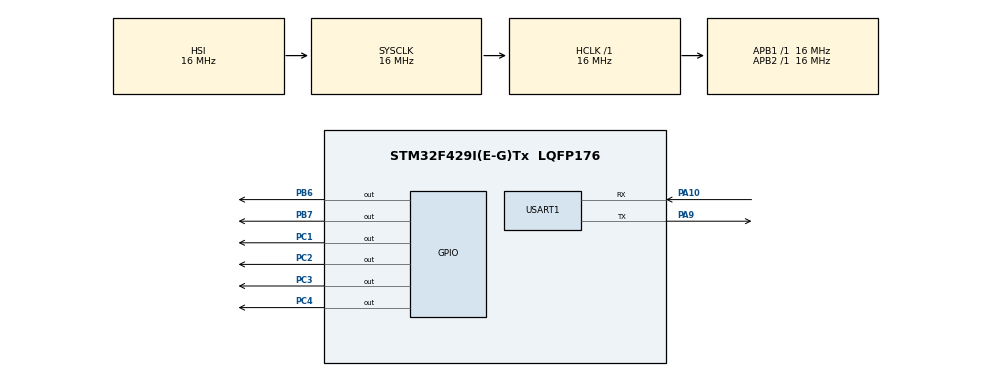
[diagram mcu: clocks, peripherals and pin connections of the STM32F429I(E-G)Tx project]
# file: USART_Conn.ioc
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Mcu.Family=STM32F4
Mcu.Name=STM32F429I(E-G)Tx
Mcu.Package=LQFP176
NVIC.PriorityGroup=NVIC_PRIORITYGROUP_4
NVIC.USART1_IRQn=true\:0\:0\:false\:false\:true\:true\:true\:true
PA10.Mode=Asynchronous
PA10.Signal=USART1_RX
PA9.Mode=Asynchronous
PA9.Signal=USART1_TX
PB6.Signal=GPIO_Output
PB7.PinState=GPIO_PIN_SET
PB7.Signal=GPIO_Output
PC1.Signal=GPIO_Output
PC2.Signal=GPIO_Output
PC3.Signal=GPIO_Output
PC4.Signal=GPIO_Output
ProjectManager.HeapSize=0x200
ProjectManager.StackSize=0x400
ProjectManager.TargetToolchain=MDK-ARM V5.32
RCC.AHBFreq_Value=16000000
RCC.APB1Freq_Value=16000000
RCC.APB2Freq_Value=16000000
RCC.CortexFreq_Value=16000000
RCC.HSE_VALUE=25000000
RCC.HSI_VALUE=16000000
RCC.LSE_VALUE=32768
RCC.SYSCLKFreq_VALUE=16000000
RCC.VCOOutputFreq_Value=192000000
USART1.VirtualMode=VM_ASYNC
board=custom

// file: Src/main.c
/* USER CODE BEGIN Header */
/**
  ******************************************************************************
  * @file           : main.c
  * @brief          : Main program body
  ******************************************************************************
  * @attention
  *
  * Copyright (c) 2024 STMicroelectronics.
  * All rights reserved.
  *
  * This software is licensed under terms that can be found in the LICENSE file
  * in the root directory of this software component.
  * If no LICENSE file comes with this software, it is provided AS-IS.
  *
  ******************************************************************************
  */
/* USER CODE END Header */
#include "main.h"
#include "usart.h"
#include "gpio.h"

/* USER CODE BEGIN Includes */
#include "string.h"
/* USER CODE END Includes */

void SystemClock_Config(void);

int main(void)
{

  /* MCU Configuration--------------------------------------------------------*/

  /* Reset of all peripherals, Initializes the Flash interface and the Systick. */
  HAL_Init();

  /* Configure the system clock */
  SystemClock_Config();

  /* Initialize all configured peripherals */
  MX_GPIO_Init();
  MX_USART1_UART_Init();
  /* USER CODE BEGIN 2 */
//	uint8_t sendData[]= "hello worldr\n";

//	unsigned char rec[25];
//	unsigned char flag;

  /* USER CODE END 2 */

  /* Infinite loop */
  /* USER CODE BEGIN WHILE */
  while (1)
  {
//		HAL UART Transmit(&huartl, sendData, sizeof(sendData), HAL MAX DELAY);
//		HAL Delay(5000);

		uint8_t recvData;
		HAL_UART_Receive(&huart1,&recvData,sizeof(recvData),HAL_MAX_DELAY); //只收一个字符,需要16进制发送
		HAL_GPIO_WritePin(GPIOC,GPIO_PIN_1,GPIO_PIN_RESET);
		HAL_GPIO_WritePin(GPIOC,GPIO_PIN_2,GPIO_PIN_RESET);
		HAL_GPIO_WritePin(GPIOC,GPIO_PIN_3,GPIO_PIN_RESET);
		HAL_GPIO_WritePin(GPIOC,GPIO_PIN_4,GPIO_PIN_RESET); //在切换灯之前全部熄灭
		switch (recvData)
		{
		case 1:
			HAL_GPIO_WritePin(GPIOC,GPIO_PIN_1,GPIO_PIN_SET);
			break;
		case 2:
			HAL_GPIO_WritePin(GPIOC,GPIO_PIN_2,GPIO_PIN_SET);
			break;
		case 3:
			HAL_GPIO_WritePin(GPIOC,GPIO_PIN_3,GPIO_PIN_SET);
			break;
		case 4:
			HAL_GPIO_WritePin(GPIOC,GPIO_PIN_4,GPIO_PIN_SET);
			break;
		default:
			break;
		}

//		//MyVersion:
//		HAL_UART_Receive(&huart1,rec,25,1);
//		flag = rec[0];
//		if(flag == '1')
//			HAL_GPIO_WritePin(GPIOC,GPIO_PIN_1,GPIO_PIN_SET);
//		else
//			HAL_GPIO_WritePin(GPIOC,GPIO_PIN_1,GPIO_PIN_RESET);
//
//		if(flag == '2')
//			HAL_GPIO_WritePin(GPIOC,GPIO_PIN_2,GPIO_PIN_SET);
//		else
//			HAL_GPIO_WritePin(GPIOC,GPIO_PIN_2,GPIO_PIN_RESET);
//
//		if(flag == '3')
//			HAL_GPIO_WritePin(GPIOC,GPIO_PIN_3,GPIO_PIN_SET);
//		else
//			HAL_GPIO_WritePin(GPIOC,GPIO_PIN_3,GPIO_PIN_RESET);
//
//		if(flag == '4')
//			HAL_GPIO_WritePin(GPIOC,GPIO_PIN_4,GPIO_PIN_SET);
//		else
//			HAL_GPIO_WritePin(GPIOC,GPIO_PIN_4,GPIO_PIN_RESET);

    /* USER CODE END WHILE */

  }
}

void SystemClock_Config(void)
{
  RCC_OscInitTypeDef RCC_OscInitStruct = {0};
  RCC_ClkInitTypeDef RCC_ClkInitStruct = {0};

  /** Configure the main internal regulator output voltage
  */
  __HAL_RCC_PWR_CLK_ENABLE();
  __HAL_PWR_VOLTAGESCALING_CONFIG(PWR_REGULATOR_VOLTAGE_SCALE3);

  /** Initializes the RCC Oscillators according to the specified parameters
  * in the RCC_OscInitTypeDef structure.
  */
  RCC_OscInitStruct.OscillatorType = RCC_OSCILLATORTYPE_HSI;
  RCC_OscInitStruct.HSIState = RCC_HSI_ON;
  RCC_OscInitStruct.HSICalibrationValue = RCC_HSICALIBRATION_DEFAULT;
  RCC_OscInitStruct.PLL.PLLState = RCC_PLL_NONE;
  if (HAL_RCC_OscConfig(&RCC_OscInitStruct) != HAL_OK)
  {
    Error_Handler();
  }

  /** Initializes the CPU, AHB and APB buses clocks
  */
  RCC_ClkInitStruct.ClockType = RCC_CLOCKTYPE_HCLK|RCC_CLOCKTYPE_SYSCLK
                              |RCC_CLOCKTYPE_PCLK1|RCC_CLOCKTYPE_PCLK2;
  RCC_ClkInitStruct.SYSCLKSource = RCC_SYSCLKSOURCE_HSI;
  RCC_ClkInitStruct.AHBCLKDivider = RCC_SYSCLK_DIV1;
  RCC_ClkInitStruct.APB1CLKDivider = RCC_HCLK_DIV1;
  RCC_ClkInitStruct.APB2CLKDivider = RCC_HCLK_DIV1;

  if (HAL_RCC_ClockConfig(&RCC_ClkInitStruct, FLASH_LATENCY_0) != HAL_OK)
  {
    Error_Handler();
  }
}

void Error_Handler(void)
{
  __disable_irq();
  while (1)
  {
  }
}
